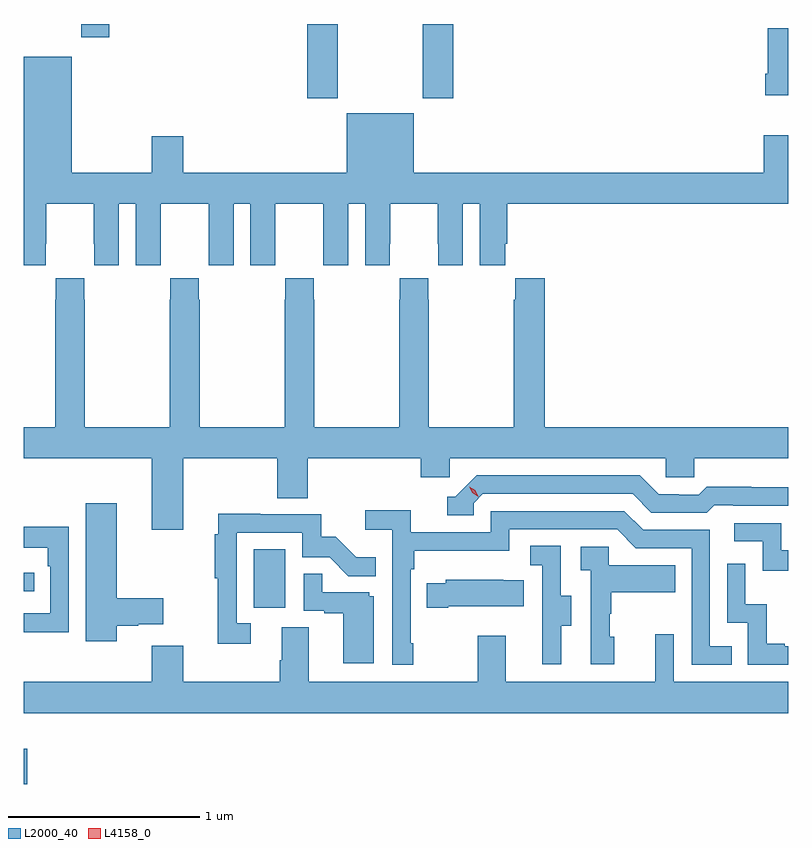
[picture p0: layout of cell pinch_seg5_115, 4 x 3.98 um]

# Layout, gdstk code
import gdstk
lib = gdstk.Library(unit=1e-6, precision=1e-09)
def R(c, l, rs):  # rectangles x0, y0, x1, y1
    for r in rs: c.add(gdstk.rectangle(r[:2], r[2:], *l))
def P(c, l, *ps):  # polygons
    for p in ps: c.add(gdstk.Polygon(p, *l))
L2000_40 = (2000, 40)
L4158_0 = (4158, 0)

pinch_seg5_115 = lib.new_cell('pinch_seg5_115')
R(pinch_seg5_115, L2000_40, [(1039.462,877.701,1039.481,877.885), (1040.666,878.622,1040.83,878.929), (1039.462,878.709,1039.516,878.805), (1040.945,881.289,1041.105,881.677), (1041.55,881.289,1041.71,881.677), (1039.762,881.607,1039.909,881.677)])
P(pinch_seg5_115, L2000_40, [(1043.462,881.656),(1043.354,881.656),(1043.354,881.416),(1043.342,881.416),(1043.342,881.304),(1043.462,881.304)],
  [(1039.578,880.528),(1039.579,880.528),(1039.579,880.736),(1039.829,880.736),(1039.829,880.528),(1039.83,880.528),(1039.83,880.416),(1039.96,880.416),(1039.96,880.736),(1040.048,880.736),(1040.048,880.416),(1040.178,880.416),(1040.178,880.528),(1040.179,880.528),(1040.179,880.736),(1040.429,880.736),(1040.429,880.528),(1040.43,880.528),(1040.43,880.416),(1040.56,880.416),(1040.56,880.736),(1040.648,880.736),(1040.648,880.416),(1040.778,880.416),(1040.778,880.528),(1040.779,880.528),(1040.779,880.736),(1041.029,880.736),(1041.029,880.528),(1041.03,880.528),(1041.03,880.416),(1041.16,880.416),(1041.16,880.736),(1041.248,880.736),(1041.248,880.416),(1041.378,880.416),(1041.378,880.528),(1041.379,880.528),(1041.379,880.736),(1041.629,880.736),(1041.629,880.528),(1041.63,880.528),(1041.63,880.416),(1041.76,880.416),(1041.76,880.736),(1041.848,880.736),(1041.848,880.416),(1041.982,880.416),(1041.982,880.528),(1041.992,880.528),(1041.992,880.736),(1043.462,880.736),(1043.462,881.095),(1043.333,881.095),(1043.333,880.9),(1041.502,880.9),(1041.502,881.209),(1041.152,881.209),(1041.152,880.9),(1040.296,880.9),(1040.296,881.089),(1040.132,881.089),(1040.132,880.9),(1039.714,880.9),(1039.714,881.506),(1039.462,881.506),(1039.462,880.416),(1039.578,880.416)],
  [(1042.821,879.306),(1042.971,879.306),(1042.971,879.404),(1043.462,879.404),(1043.462,879.568),(1042.187,879.568),(1042.187,880.348),(1042.033,880.348),(1042.033,880.235),(1042.027,880.235),(1042.027,879.568),(1041.582,879.568),(1041.582,880.235),(1041.579,880.235),(1041.579,880.348),(1041.429,880.348),(1041.429,880.235),(1041.427,880.235),(1041.427,879.568),(1040.982,879.568),(1040.982,880.235),(1040.979,880.235),(1040.979,880.348),(1040.829,880.348),(1040.829,880.235),(1040.827,880.235),(1040.827,879.568),(1040.382,879.568),(1040.382,880.235),(1040.379,880.235),(1040.379,880.348),(1040.229,880.348),(1040.229,880.235),(1040.227,880.235),(1040.227,879.568),(1039.782,879.568),(1039.782,880.235),(1039.779,880.235),(1039.779,880.348),(1039.629,880.348),(1039.629,880.235),(1039.627,880.235),(1039.627,879.568),(1039.462,879.568),(1039.462,879.404),(1040.132,879.404),(1040.132,879.03),(1040.296,879.03),(1040.296,879.404),(1040.788,879.404),(1040.788,879.196),(1040.948,879.196),(1040.948,879.404),(1041.539,879.404),(1041.539,879.306),(1041.69,879.306),(1041.69,879.404),(1042.821,879.404)],
  [(1041.816,879.171),(1041.864,879.219),(1042.647,879.219),(1042.746,879.12),(1043.035,879.12),(1043.074,879.159),(1043.173,879.159),(1043.173,879.156),(1043.462,879.156),(1043.462,879.253),(1043.268,879.253),(1043.268,879.256),(1043.035,879.256),(1042.993,879.213),(1042.89,879.213),(1042.89,879.216),(1042.783,879.216),(1042.684,879.315),(1041.831,879.315),(1041.72,879.204),(1041.677,879.204),(1041.677,879.108),(1041.816,879.108)],
  [(1039.948,878.53),(1040.061,878.53),(1040.061,878.537),(1040.191,878.537),(1040.191,878.672),(1039.948,878.672),(1039.948,879.169),(1039.787,879.169),(1039.787,878.448),(1039.948,878.448)],
  [(1041.499,878.437),(1041.486,878.437),(1041.486,878.825),(1041.506,878.825),(1041.506,878.921),(1042.002,878.921),(1042.002,879.033),(1042.566,879.033),(1042.665,878.934),(1042.956,878.934),(1042.956,878.325),(1043.165,878.325),(1043.165,878.421),(1043.052,878.421),(1043.052,879.03),(1042.702,879.03),(1042.603,879.129),(1041.906,879.129),(1041.906,879.018),(1041.488,879.018),(1041.488,879.134),(1041.249,879.134),(1041.249,879.032),(1041.39,879.032),(1041.39,878.325),(1041.499,878.325)],
  [(1040.65,878.541),(1040.577,878.541),(1040.577,879.015),(1040.919,879.015),(1040.919,878.886),(1041.063,878.886),(1041.161,878.788),(1041.305,878.788),(1041.305,878.887),(1041.201,878.887),(1041.094,878.994),(1041.018,878.994),(1041.018,879.111),(1040.699,879.111),(1040.699,879.116),(1040.48,879.116),(1040.48,879.008),(1040.461,879.008),(1040.461,878.778),(1040.476,878.778),(1040.476,878.436),(1040.65,878.436)],
  [(1043.462,878.925),(1043.424,878.925),(1043.424,879.066),(1043.18,879.066),(1043.18,878.97),(1043.328,878.97),(1043.328,878.817),(1043.462,878.817)],
  [(1039.698,879.046),(1039.462,879.046),(1039.462,878.936),(1039.589,878.936),(1039.589,878.84),(1039.602,878.84),(1039.602,878.595),(1039.462,878.595),(1039.462,878.494),(1039.698,878.494)],
  [(1042.273,878.53),(1042.327,878.53),(1042.327,878.685),(1042.272,878.685),(1042.272,878.948),(1042.113,878.948),(1042.113,878.845),(1042.176,878.845),(1042.176,878.541),(1042.175,878.541),(1042.175,878.328),(1042.273,878.328)],
  [(1042.552,878.472),(1042.527,878.472),(1042.527,878.591),(1042.537,878.591),(1042.537,878.705),(1042.871,878.705),(1042.871,878.845),(1042.524,878.845),(1042.524,878.943),(1042.377,878.943),(1042.377,878.819),(1042.428,878.819),(1042.428,878.328),(1042.552,878.328)],
  [(1043.462,878.421),(1043.443,878.421),(1043.443,878.434),(1043.348,878.434),(1043.348,878.642),(1043.238,878.642),(1043.238,878.854),(1043.142,878.854),(1043.142,878.544),(1043.25,878.544),(1043.25,878.325),(1043.462,878.325)],
  [(1041.292,878.682),(1041.27,878.682),(1041.27,878.703),(1041.023,878.703),(1041.023,878.801),(1040.928,878.801),(1040.928,878.607),(1041.035,878.607),(1041.035,878.595),(1041.134,878.595),(1041.134,878.334),(1041.292,878.334)],
  [(1041.682,878.63),(1042.079,878.63),(1042.079,878.767),(1041.971,878.767),(1041.971,878.77),(1041.669,878.77),(1041.669,878.752),(1041.571,878.752),(1041.571,878.623),(1041.682,878.623)],
  [(1043.462,878.236),(1042.863,878.236),(1042.863,878.485),(1042.766,878.485),(1042.766,878.236),(1041.985,878.236),(1041.985,878.476),(1041.838,878.476),(1041.838,878.236),(1040.953,878.236),(1040.953,878.522),(1040.813,878.522),(1040.813,878.348),(1040.801,878.348),(1040.801,878.236),(1040.296,878.236),(1040.296,878.425),(1040.132,878.425),(1040.132,878.236),(1039.462,878.236),(1039.462,878.072),(1043.462,878.072)])
P(pinch_seg5_115, L4158_0, [(1041.839,879.204),(1041.808,879.224),(1041.792,879.256),(1041.792,879.257),(1041.792,879.257),(1041.823,879.237),(1041.839,879.204),(1041.839,879.204)])

lib.write_gds('pinch_seg5_115.gds')
